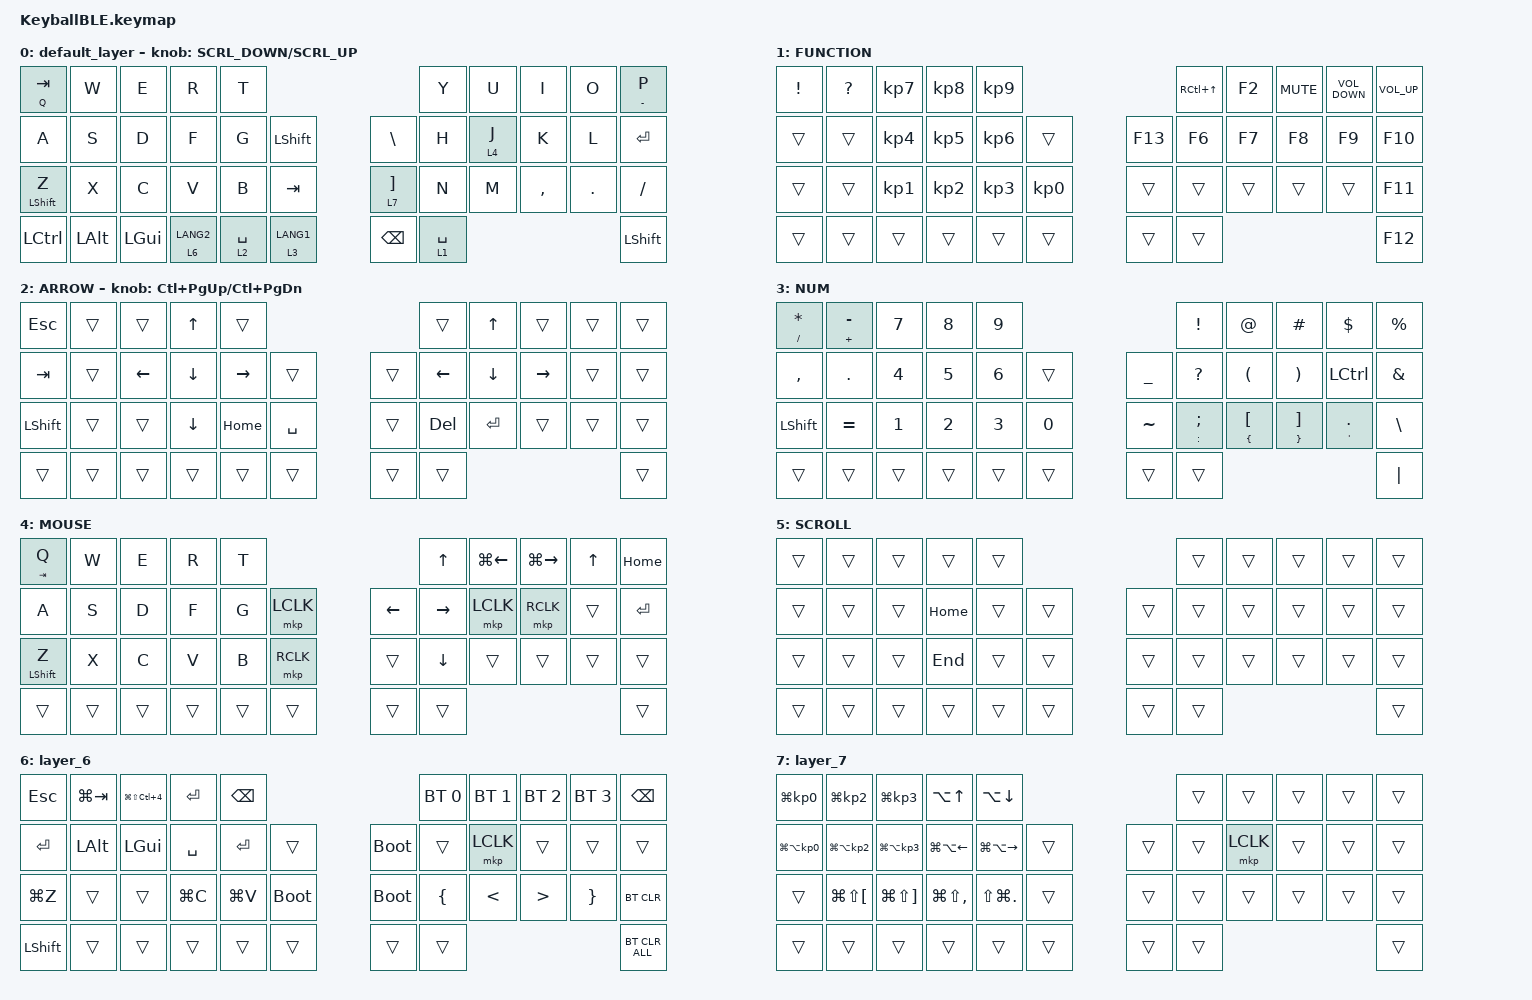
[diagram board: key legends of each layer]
#define ZMK_POINTING_DEFAULT_SCRL_VAL 120    // default: 10

#include <behaviors.dtsi>
#include <dt-bindings/zmk/bt.h>
#include <dt-bindings/zmk/keys.h>
#include <dt-bindings/zmk/pointing.h>

#define MOUSE 4
#define SCROLL 5
#define NUM 6

&mt {
    flavor = "balanced";
    quick-tap-ms = <0>;
};

/ {
    combos {
        compatible = "zmk,combos";

        scroll {
            bindings = <&lt 5 SPACE>;
            key-positions = <19 18>;
        };

        redo {
            bindings = <&kp LG(LS(Z))>;
            key-positions = <36 34 22>;
        };

        nobashi {
            bindings = <&kp MINUS>;
            key-positions = <9 22>;
        };
    };

    macros {
        to_layer_0: to_layer_0 {
            compatible = "zmk,behavior-macro-one-param";
            #binding-cells = <1>;
            bindings = <&to 0 &macro_param_1to1 &kp MACRO_PLACEHOLDER>;
            label = "TO_LAYER_0";
        };
    };

    behaviors {
        lt_to_layer_0: lt_to_layer_0 {
            compatible = "zmk,behavior-hold-tap";
            label = "LAYER_TAP_TO_0";
            bindings = <&mo>, <&to_layer_0>;

            #binding-cells = <2>;
            tapping-term-ms = <200>;
        };

        ROTATE: ROTATE {
            compatible = "zmk,behavior-sensor-rotate-var";
            label = "ROTATE";
            #sensor-binding-cells = <2>;
            bindings = <&msc>, <&msc>;

            tap-ms = <20>;
        };
    };

    keymap {
        compatible = "zmk,keymap";

        default_layer {
            bindings = <
&mt Q TAB         &kp W         &kp E         &kp R                   &kp T                                                         &kp Y        &kp U    &kp I      &kp O    &mt MINUS P
&kp A             &kp S         &kp D         &kp F                   &kp G        &kp LEFT_SHIFT              &kp BACKSLASH        &kp H        &lt 4 J  &kp K      &kp L    &kp ENTER
&mt LEFT_SHIFT Z  &kp X         &kp C         &kp V                   &kp B        &kp TAB                     &lt 7 RIGHT_BRACKET  &kp N        &kp M    &kp COMMA  &kp DOT  &kp SLASH
&kp LCTRL         &kp LEFT_ALT  &kp LEFT_GUI  &lt_to_layer_0 6 LANG2  &lt 2 SPACE  &lt_to_layer_0 3 LANG1      &kp BACKSPACE        &lt 1 SPACE                               &kp LEFT_SHIFT
            >;

            sensor-bindings = <&ROTATE SCRL_DOWN SCRL_UP>;
        };

        FUNCTION {
            bindings = <
&kp EXCLAMATION  &kp QUESTION  &kp KP_NUMBER_7  &kp KP_NUMBER_8  &kp KP_NUMBER_9                                &kp RC(UP_ARROW)  &kp F2  &kp K_MUTE  &kp C_VOLUME_DOWN  &kp C_VOLUME_UP
&trans           &trans        &kp KP_NUMBER_4  &kp KP_NUMBER_5  &kp KP_NUMBER_6  &trans               &kp F13  &kp F6            &kp F7  &kp F8      &kp F9             &kp F10
&trans           &trans        &kp KP_NUMBER_1  &kp KP_NUMBER_2  &kp KP_NUMBER_3  &kp KP_NUMBER_0      &trans   &trans            &trans  &trans      &trans             &kp F11
&trans           &trans        &trans           &trans           &trans           &trans               &trans   &trans                                                   &kp F12
            >;
        };

        ARROW {
            bindings = <
&kp ESCAPE      &trans  &trans          &kp UP_ARROW    &trans                                  &trans      &kp UP_ARROW    &trans     &trans  &trans
&kp TAB         &trans  &kp LEFT_ARROW  &kp DOWN_ARROW  &kp RIGHT_ARROW  &trans         &trans  &kp LEFT    &kp DOWN_ARROW  &kp RIGHT  &trans  &trans
&kp LEFT_SHIFT  &trans  &trans          &kp DOWN_ARROW  &kp HOME         &kp SPACE      &trans  &kp DELETE  &kp ENTER       &trans     &trans  &trans
&trans          &trans  &trans          &trans          &trans           &trans         &trans  &trans                                         &trans
            >;

            sensor-bindings = <&inc_dec_kp LC(PAGE_UP) LC(PAGE_DOWN)>;
        };

        NUM {
            bindings = <
&mt SLASH ASTERISK  &mt PLUS MINUS  &kp N7  &kp N8  &kp N9                              &kp EXCLAMATION  &kp AT_SIGN                  &kp HASH                       &kp DOLLAR   &kp PERCENT
&kp COMMA           &kp DOT         &kp N4  &kp N5  &kp N6  &trans      &kp UNDERSCORE  &kp QUESTION     &kp LEFT_PARENTHESIS         &kp RIGHT_PARENTHESIS          &kp LCTRL    &kp AMPERSAND
&kp LEFT_SHIFT      &kp EQUAL       &kp N1  &kp N2  &kp N3  &kp N0      &kp TILDE       &mt COLON SEMI   &mt LEFT_BRACE LEFT_BRACKET  &mt RIGHT_BRACE RIGHT_BRACKET  &mt SQT DOT  &kp BACKSLASH
&trans              &trans          &trans  &trans  &trans  &trans      &trans          &trans                                                                                    &kp PIPE
            >;
        };

        MOUSE {
            bindings = <
&mt TAB Q         &kp W   &kp E   &kp R   &kp T                                  &kp UP_ARROW     &kp LG(LEFT_ARROW)  &kp LG(RIGHT_ARROW)  &kp UP_ARROW  &kp HOME
&kp A             &kp S   &kp D   &kp F   &kp G   &mkp LCLK      &kp LEFT_ARROW  &kp RIGHT_ARROW  &mkp LCLK           &mkp RCLK            &trans        &kp ENTER
&mt LEFT_SHIFT Z  &kp X   &kp C   &kp V   &kp B   &mkp RCLK      &trans          &kp DOWN_ARROW   &trans              &trans               &trans        &trans
&trans            &trans  &trans  &trans  &trans  &trans         &trans          &trans                                                                  &trans
            >;
        };

        SCROLL {
            bindings = <
&trans  &trans  &trans  &trans    &trans                      &trans  &trans  &trans  &trans  &trans
&trans  &trans  &trans  &kp HOME  &trans  &trans      &trans  &trans  &trans  &trans  &trans  &trans
&trans  &trans  &trans  &kp END   &trans  &trans      &trans  &trans  &trans  &trans  &trans  &trans
&trans  &trans  &trans  &trans    &trans  &trans      &trans  &trans                          &trans
            >;
        };

        layer_6 {
            bindings = <
&kp ESCAPE      &kp LG(TAB)   &kp LG(LS(LC(NUMBER_4)))  &kp ENTER  &kp BACKSPACE                                &bt BT_SEL 0    &bt BT_SEL 1   &bt BT_SEL 2      &bt BT_SEL 3     &kp BACKSPACE
&kp ENTER       &kp LEFT_ALT  &kp LEFT_GUI              &kp SPACE  &kp ENTER      &trans           &bootloader  &trans          &mkp LCLK      &trans            &trans           &trans
&kp LG(Z)       &trans        &trans                    &kp LG(C)  &kp LG(V)      &bootloader      &bootloader  &kp LEFT_BRACE  &kp LESS_THAN  &kp GREATER_THAN  &kp RIGHT_BRACE  &bt BT_CLR
&kp LEFT_SHIFT  &trans        &trans                    &trans     &trans         &trans           &trans       &trans                                                            &bt BT_CLR_ALL
            >;
        };

        layer_7 {
            bindings = <
&kp LG(KP_NUMBER_0)      &kp LG(KP_NUMBER_2)       &kp LG(KP_NUMBER_3)        &kp LA(UP_ARROW)        &kp LA(DOWN_ARROW)                      &trans  &trans     &trans  &trans  &trans
&kp LG(LA(KP_NUMBER_0))  &kp LG(LA(KP_NUMBER_2))   &kp LG(LA(KP_NUMBER_3))    &kp LG(LA(LEFT_ARROW))  &kp LG(LA(RIGHT))   &trans      &trans  &trans  &mkp LCLK  &trans  &trans  &trans
&trans                   &kp LG(LS(LEFT_BRACKET))  &kp LG(LS(RIGHT_BRACKET))  &kp LG(LS(COMMA))       &kp LS(LG(PERIOD))  &trans      &trans  &trans  &trans     &trans  &trans  &trans
&trans                   &trans                    &trans                     &trans                  &trans              &trans      &trans  &trans                             &trans
            >;
        };
    };
};
